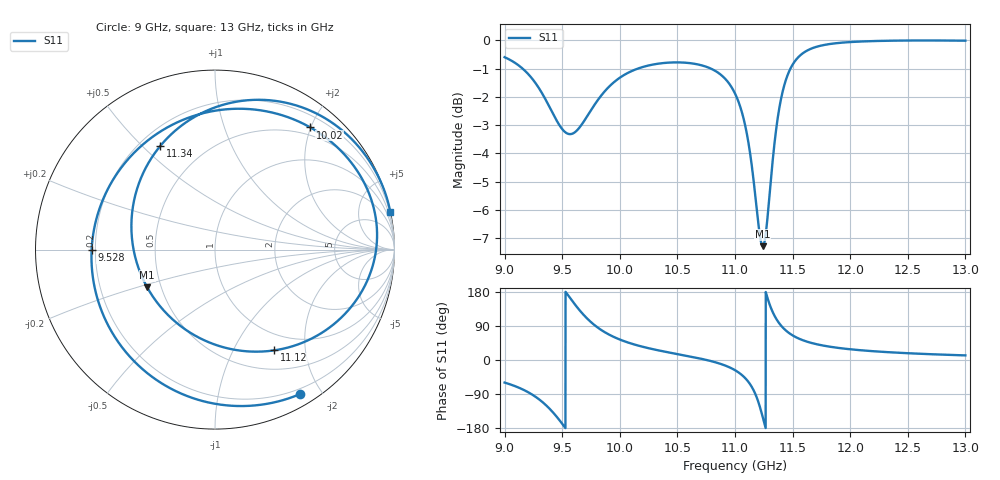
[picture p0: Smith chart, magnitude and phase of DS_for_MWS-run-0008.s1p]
! TOUCHSTONE file generated by CST DESIGN STUDIO
! Date and time: Tue Feb  4 18:41:44 2025
! Project name: C:\Work\MatlabApps\UnitCellOptimizationMatlab\CST\unitcell.cst
! Tree item: Tasks\Sweep1\SPara1\S-Parameters
! Header version: 2024
! Port assignment regex: !\s*Touchstone port\s*([0-9]+)\s*=\s*(CST MWS port|CST DES external port|CST DES block port)\s*(.+)\s* \(\"(.*)\"\)(\s*mode\s*([0-9]+))?.*
! Touchstone port assignment:
! Touchstone port 1 = CST DES external port 1 ("")
# GHz S MA R 50
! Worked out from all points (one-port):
!   4001 points, 9 GHz to 13 GHz, reference 50 ohm
!   lowest |S11| = -7.3 dB at 11.24 GHz (marker M1), VSWR 2.52, Z = 20.9 - j10.8 ohm
!   |S11| at or under -10 dB: nowhere
!   S11 on the Smith chart (normalised r, x): 9 GHz: 0.14, -1.74; 9.528 GHz: 0.19, -0.00; 10.02 GHz: 0.37, +1.99; 11.12 GHz: 0.75, -1.47; 11.34 GHz: 0.28, +0.57; 13 GHz: 0.05, +9.39
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9  0.9338 -59.6
9.147  0.8947 -76.2
9.296  0.8244 -103.1
9.395  0.7588 -130.0
9.5  0.6967 -168.2
9.528  0.6875 -179.7
9.638  0.6964 136.0
9.733  0.7431 104.6
9.843  0.8008 78.4
10  0.8589 54.0
10.017  0.8635 52.0
10.225  0.9003 32.9
10.5  0.9143 15.6
10.813  0.8868 -4.6
11  0.8055 -26.9
11.065  0.7398 -41.0
11.121  0.651 -59.6
11.185  0.5111 -95.9
11.241  0.4324 -151.0
11.288  0.5002 157.9
11.341  0.6526 117.9
11.408  0.8027 87.9
11.5  0.9058 65.0
11.583  0.947 52.9
11.686  0.9711 43.3
12  0.9932 28.3
12.5  0.9995 17.9
13  0.9988 12.2
